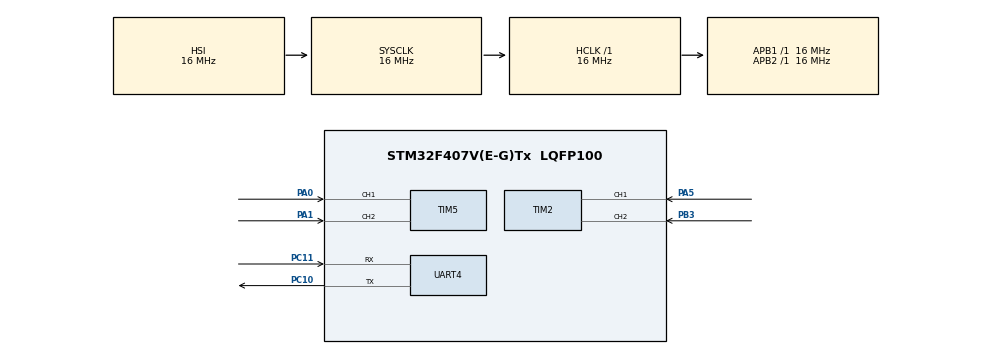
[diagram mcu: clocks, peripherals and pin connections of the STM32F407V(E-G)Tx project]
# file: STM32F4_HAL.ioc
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Dma.Request0=UART4_RX
Dma.Request1=UART4_TX
Dma.UART4_RX.0.Direction=DMA_PERIPH_TO_MEMORY
Dma.UART4_RX.0.FIFOMode=DMA_FIFOMODE_DISABLE
Dma.UART4_RX.0.Instance=DMA1_Stream2
Dma.UART4_RX.0.MemDataAlignment=DMA_MDATAALIGN_BYTE
Dma.UART4_RX.0.MemInc=DMA_MINC_ENABLE
Dma.UART4_RX.0.Mode=DMA_NORMAL
Dma.UART4_RX.0.PeriphDataAlignment=DMA_PDATAALIGN_BYTE
Dma.UART4_RX.0.PeriphInc=DMA_PINC_DISABLE
Dma.UART4_RX.0.Priority=DMA_PRIORITY_HIGH
Dma.UART4_TX.1.Direction=DMA_MEMORY_TO_PERIPH
Dma.UART4_TX.1.FIFOMode=DMA_FIFOMODE_DISABLE
Dma.UART4_TX.1.Instance=DMA1_Stream4
Dma.UART4_TX.1.MemDataAlignment=DMA_MDATAALIGN_BYTE
Dma.UART4_TX.1.MemInc=DMA_MINC_ENABLE
Dma.UART4_TX.1.Mode=DMA_NORMAL
Dma.UART4_TX.1.PeriphDataAlignment=DMA_PDATAALIGN_BYTE
Dma.UART4_TX.1.PeriphInc=DMA_PINC_DISABLE
Dma.UART4_TX.1.Priority=DMA_PRIORITY_HIGH
Mcu.Family=STM32F4
Mcu.Name=STM32F407V(E-G)Tx
Mcu.Package=LQFP100
NVIC.DMA1_Stream2_IRQn=true\:0\:0\:false\:false\:true\:false\:true\:true
NVIC.DMA1_Stream4_IRQn=true\:0\:0\:false\:false\:true\:false\:true\:true
NVIC.PriorityGroup=NVIC_PRIORITYGROUP_4
NVIC.TIM2_IRQn=true\:0\:0\:false\:false\:true\:true\:true\:true
NVIC.TIM5_IRQn=true\:0\:0\:false\:false\:true\:true\:true\:true
NVIC.UART4_IRQn=true\:0\:0\:false\:false\:true\:true\:true\:true
PA0-WKUP.GPIO_PuPd=GPIO_PULLUP
PA0-WKUP.Signal=S_TIM5_CH1
PA1.GPIO_PuPd=GPIO_PULLUP
PA1.Signal=S_TIM5_CH2
PA5.GPIO_PuPd=GPIO_PULLUP
PA5.Signal=S_TIM2_CH1_ETR
PB3.GPIO_PuPd=GPIO_PULLUP
PB3.Signal=S_TIM2_CH2
PC10.GPIO_PuPd=GPIO_PULLUP
PC10.Mode=Asynchronous
PC10.Signal=UART4_TX
PC11.GPIO_PuPd=GPIO_PULLUP
PC11.Mode=Asynchronous
PC11.Signal=UART4_RX
ProjectManager.HeapSize=0x200
ProjectManager.StackSize=0x400
ProjectManager.TargetToolchain=STM32CubeIDE
RCC.AHBFreq_Value=16000000
RCC.APB1Freq_Value=16000000
RCC.APB2Freq_Value=16000000
RCC.CortexFreq_Value=16000000
RCC.HSE_VALUE=25000000
RCC.HSI_VALUE=16000000
RCC.LSE_VALUE=32768
RCC.SYSCLKFreq_VALUE=16000000
RCC.VCOOutputFreq_Value=192000000
SH.S_TIM2_CH1_ETR.0=TIM2_CH1,Encoder_Interface
SH.S_TIM2_CH2.0=TIM2_CH2,Encoder_Interface
SH.S_TIM5_CH1.0=TIM5_CH1,Encoder_Interface
SH.S_TIM5_CH2.0=TIM5_CH2,Encoder_Interface
TIM2.EncoderMode=TIM_ENCODERMODE_TI12
TIM5.EncoderMode=TIM_ENCODERMODE_TI12
UART4.VirtualMode=Asynchronous
board=custom

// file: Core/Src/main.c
/* USER CODE BEGIN Header */
/**
  ******************************************************************************
  * @file           : main.c
  * @brief          : Main program body
  ******************************************************************************
  * @attention
  *
  * Copyright (c) 2022 STMicroelectronics.
  * All rights reserved.
  *
  * This software is licensed under terms that can be found in the LICENSE file
  * in the root directory of this software component.
  * If no LICENSE file comes with this software, it is provided AS-IS.
  *
  ******************************************************************************
  */
/* USER CODE END Header */
#include "main.h"

/* USER CODE BEGIN Includes */
#include "custom.h"
/* USER CODE END Includes */

TIM_HandleTypeDef htim2;
TIM_HandleTypeDef htim5;

UART_HandleTypeDef huart4;
DMA_HandleTypeDef hdma_uart4_rx;
DMA_HandleTypeDef hdma_uart4_tx;

/* USER CODE BEGIN PV */
extern struct Encoder Encoder1, Encoder2;
/* USER CODE END PV */

void SystemClock_Config(void);
static void MX_GPIO_Init(void);
static void MX_DMA_Init(void);
static void MX_TIM2_Init(void);
static void MX_UART4_Init(void);
static void MX_TIM5_Init(void);

/* USER CODE BEGIN 0 */

uint32_t counter = 0;
int32_t count = 0;
int speed = 0;
int position = 0;

void HAL_TIM_IC_CaptureCallback(TIM_HandleTypeDef *htim)
{/*
 if (htim->Instance==TIM2)
  {*/
  //input_capture= __HAL_TIM_GetCompare(&htim1, TIM_CHANNEL_1);    //read TIM2 channel 1 capture value
  /*Encoder1.counter = __HAL_TIM_GET_COUNTER(htim);
  Encoder1.count = (int32_t)Encoder1.counter ;
  position = count/2;
  */
  if(htim->Instance==TIM2){ //Enkoder 1
  		Encoder1.counter = __HAL_TIM_GET_COUNTER(htim);
  		Encoder1.count = (int32_t)Encoder1.counter;
  		Encoder1.position = Encoder1.count/2;
  		//Position_Publish(&Encoder1);
  	}
  if(htim->Instance==TIM5){ //Enkoder 1
    		Encoder2.counter = __HAL_TIM_GET_COUNTER(htim);
    		Encoder2.count = (int32_t)Encoder2.counter;
    		Encoder2.position = Encoder2.count/2;
    		//Position_Publish(&Encoder2);
    	}
  //}
}

/* USER CODE END 0 */

int main(void)
{

  /* MCU Configuration--------------------------------------------------------*/

  /* Reset of all peripherals, Initializes the Flash interface and the Systick. */
  HAL_Init();

  /* Configure the system clock */
  SystemClock_Config();

  /* Initialize all configured peripherals */
  MX_GPIO_Init();
  MX_DMA_Init();
  MX_TIM2_Init();
  MX_UART4_Init();
  MX_TIM5_Init();
  /* USER CODE BEGIN 2 */
  HAL_TIM_Encoder_Start_IT(&htim2, TIM_CHANNEL_ALL);
  HAL_TIM_Encoder_Start_IT(&htim5, TIM_CHANNEL_ALL);
  //HAL_TIM_Base_Start_IT(&htim2);

  setup();

  /* USER CODE END 2 */

  /* Infinite loop */
  while (1)
  {

    /* USER CODE BEGIN 3 */
	loop();
  }
  /* USER CODE END 3 */
}

void SystemClock_Config(void)
{
  RCC_OscInitTypeDef RCC_OscInitStruct = {0};
  RCC_ClkInitTypeDef RCC_ClkInitStruct = {0};

  /** Configure the main internal regulator output voltage
  */
  __HAL_RCC_PWR_CLK_ENABLE();
  __HAL_PWR_VOLTAGESCALING_CONFIG(PWR_REGULATOR_VOLTAGE_SCALE1);

  /** Initializes the RCC Oscillators according to the specified parameters
  * in the RCC_OscInitTypeDef structure.
  */
  RCC_OscInitStruct.OscillatorType = RCC_OSCILLATORTYPE_HSI;
  RCC_OscInitStruct.HSIState = RCC_HSI_ON;
  RCC_OscInitStruct.HSICalibrationValue = RCC_HSICALIBRATION_DEFAULT;
  RCC_OscInitStruct.PLL.PLLState = RCC_PLL_NONE;
  if (HAL_RCC_OscConfig(&RCC_OscInitStruct) != HAL_OK)
  {
    Error_Handler();
  }

  /** Initializes the CPU, AHB and APB buses clocks
  */
  RCC_ClkInitStruct.ClockType = RCC_CLOCKTYPE_HCLK|RCC_CLOCKTYPE_SYSCLK
                              |RCC_CLOCKTYPE_PCLK1|RCC_CLOCKTYPE_PCLK2;
  RCC_ClkInitStruct.SYSCLKSource = RCC_SYSCLKSOURCE_HSI;
  RCC_ClkInitStruct.AHBCLKDivider = RCC_SYSCLK_DIV1;
  RCC_ClkInitStruct.APB1CLKDivider = RCC_HCLK_DIV1;
  RCC_ClkInitStruct.APB2CLKDivider = RCC_HCLK_DIV1;

  if (HAL_RCC_ClockConfig(&RCC_ClkInitStruct, FLASH_LATENCY_0) != HAL_OK)
  {
    Error_Handler();
  }
}

static void MX_TIM2_Init(void)
{

  TIM_Encoder_InitTypeDef sConfig = {0};
  TIM_MasterConfigTypeDef sMasterConfig = {0};

  htim2.Instance = TIM2;
  htim2.Init.Prescaler = 0;
  htim2.Init.CounterMode = TIM_COUNTERMODE_UP;
  htim2.Init.Period = 4294967295;
  htim2.Init.ClockDivision = TIM_CLOCKDIVISION_DIV1;
  htim2.Init.AutoReloadPreload = TIM_AUTORELOAD_PRELOAD_DISABLE;
  sConfig.EncoderMode = TIM_ENCODERMODE_TI12;
  sConfig.IC1Polarity = TIM_ICPOLARITY_RISING;
  sConfig.IC1Selection = TIM_ICSELECTION_DIRECTTI;
  sConfig.IC1Prescaler = TIM_ICPSC_DIV1;
  sConfig.IC1Filter = 0;
  sConfig.IC2Polarity = TIM_ICPOLARITY_RISING;
  sConfig.IC2Selection = TIM_ICSELECTION_DIRECTTI;
  sConfig.IC2Prescaler = TIM_ICPSC_DIV1;
  sConfig.IC2Filter = 0;
  if (HAL_TIM_Encoder_Init(&htim2, &sConfig) != HAL_OK)
  {
    Error_Handler();
  }
  sMasterConfig.MasterOutputTrigger = TIM_TRGO_RESET;
  sMasterConfig.MasterSlaveMode = TIM_MASTERSLAVEMODE_DISABLE;
  if (HAL_TIMEx_MasterConfigSynchronization(&htim2, &sMasterConfig) != HAL_OK)
  {
    Error_Handler();
  }

}

static void MX_TIM5_Init(void)
{

  TIM_Encoder_InitTypeDef sConfig = {0};
  TIM_MasterConfigTypeDef sMasterConfig = {0};

  htim5.Instance = TIM5;
  htim5.Init.Prescaler = 0;
  htim5.Init.CounterMode = TIM_COUNTERMODE_UP;
  htim5.Init.Period = 4294967295;
  htim5.Init.ClockDivision = TIM_CLOCKDIVISION_DIV1;
  htim5.Init.AutoReloadPreload = TIM_AUTORELOAD_PRELOAD_DISABLE;
  sConfig.EncoderMode = TIM_ENCODERMODE_TI12;
  sConfig.IC1Polarity = TIM_ICPOLARITY_RISING;
  sConfig.IC1Selection = TIM_ICSELECTION_DIRECTTI;
  sConfig.IC1Prescaler = TIM_ICPSC_DIV1;
  sConfig.IC1Filter = 0;
  sConfig.IC2Polarity = TIM_ICPOLARITY_RISING;
  sConfig.IC2Selection = TIM_ICSELECTION_DIRECTTI;
  sConfig.IC2Prescaler = TIM_ICPSC_DIV1;
  sConfig.IC2Filter = 0;
  if (HAL_TIM_Encoder_Init(&htim5, &sConfig) != HAL_OK)
  {
    Error_Handler();
  }
  sMasterConfig.MasterOutputTrigger = TIM_TRGO_RESET;
  sMasterConfig.MasterSlaveMode = TIM_MASTERSLAVEMODE_DISABLE;
  if (HAL_TIMEx_MasterConfigSynchronization(&htim5, &sMasterConfig) != HAL_OK)
  {
    Error_Handler();
  }

}

static void MX_UART4_Init(void)
{

  huart4.Instance = UART4;
  huart4.Init.BaudRate = 115200;
  huart4.Init.WordLength = UART_WORDLENGTH_8B;
  huart4.Init.StopBits = UART_STOPBITS_1;
  huart4.Init.Parity = UART_PARITY_NONE;
  huart4.Init.Mode = UART_MODE_TX_RX;
  huart4.Init.HwFlowCtl = UART_HWCONTROL_NONE;
  huart4.Init.OverSampling = UART_OVERSAMPLING_16;
  if (HAL_UART_Init(&huart4) != HAL_OK)
  {
    Error_Handler();
  }

}

static void MX_DMA_Init(void)
{

  /* DMA controller clock enable */
  __HAL_RCC_DMA1_CLK_ENABLE();

  /* DMA interrupt init */
  /* DMA1_Stream2_IRQn interrupt configuration */
  HAL_NVIC_SetPriority(DMA1_Stream2_IRQn, 0, 0);
  HAL_NVIC_EnableIRQ(DMA1_Stream2_IRQn);
  /* DMA1_Stream4_IRQn interrupt configuration */
  HAL_NVIC_SetPriority(DMA1_Stream4_IRQn, 0, 0);
  HAL_NVIC_EnableIRQ(DMA1_Stream4_IRQn);

}

static void MX_GPIO_Init(void)
{

  /* GPIO Ports Clock Enable */
  __HAL_RCC_GPIOA_CLK_ENABLE();
  __HAL_RCC_GPIOC_CLK_ENABLE();
  __HAL_RCC_GPIOB_CLK_ENABLE();

}

void Error_Handler(void)
{
  __disable_irq();
  while (1)
  {
  }
}
